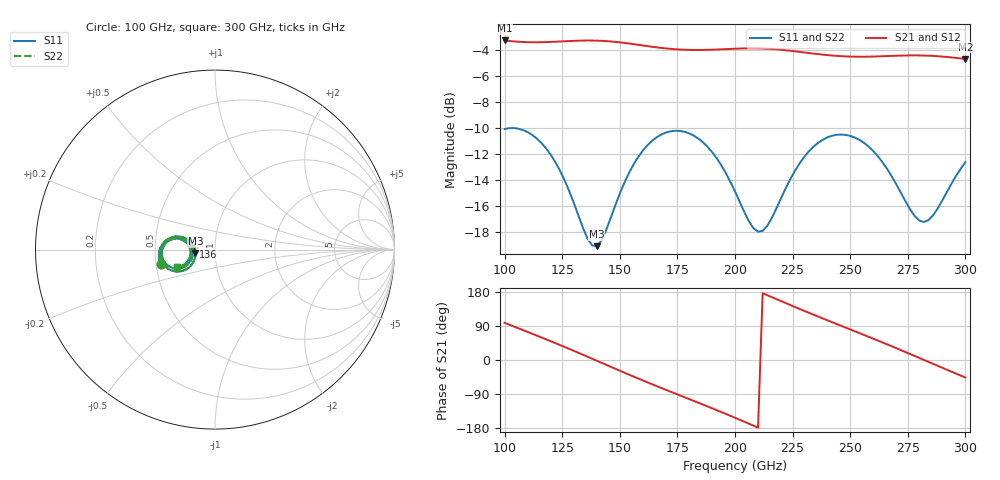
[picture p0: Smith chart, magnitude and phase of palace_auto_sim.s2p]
#  GHZ S DB R 50
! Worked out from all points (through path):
!   101 points, 100 GHz to 300 GHz, reference 50 ohm
!   highest |S21| = -3.29 dB at 100 GHz (marker M1); lowest = -4.7 dB at 300 GHz (marker M2)
!   group delay of S21, straight-line fit = 7.01 ps
!   lowest |S11| = -19.1 dB at 140 GHz (marker M3), VSWR 1.25, Z = 40.1 - j1.62 ohm
!   |S11| at or under -10 dB: start of sweep to end of sweep
!   |S22| runs from -19.0 to -10.0 dB; largest |S21 - S12| = 1.1e-13
!   S11 on the Smith chart (normalised r, x): 100 GHz: 0.53, -0.09; 136 GHz: 0.79, +0.03; 300 GHz: 0.64, -0.13
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100  -10.09 -165.1  -3.29 98.2  -3.29 98.2  -10.08 -164.9
108  -10.17 -178.6  -3.41 78.8  -3.41 78.8  -10.17 -178.4
116  -11.17 169.0  -3.43 59.5  -3.43 59.5  -11.16 169.3
124  -13.28 160.0  -3.37 39.6  -3.37 39.6  -13.25 160.3
134  -17.69 166.0  -3.30 13.9  -3.30 13.9  -17.61 166.3
136  -18.51 172.4  -3.30 8.7  -3.30 8.7  -18.42 172.6
140  -19.09 -169.6  -3.31 -1.9  -3.31 -1.9  -18.99 -169.7
148  -15.98 -146.4  -3.40 -23.0  -3.40 -23.0  -15.94 -146.8
156  -12.80 -147.9  -3.58 -43.8  -3.58 -43.8  -12.79 -148.2
168  -10.52 -163.3  -3.86 -73.8  -3.86 -73.8  -10.52 -163.6
184  -10.82 173.1  -4.02 -112.6  -4.02 -112.6  -10.83 172.7
200  -14.89 161.2  -3.93 -152.5  -3.93 -152.5  -14.96 160.7
208  -17.71 175.7  -3.90 -173.2  -3.90 -173.2  -17.86 175.5
212  -17.92 -170.0  -3.91 176.3  -3.91 176.3  -18.07 -169.8
222  -14.65 -151.0  -4.04 150.2  -4.04 150.2  -14.71 -150.4
234  -11.46 -158.8  -4.30 119.7  -4.30 119.7  -11.49 -158.4
250  -10.62 -179.9  -4.53 80.7  -4.53 80.7  -10.64 -179.7
258  -11.44 170.3  -4.53 61.2  -4.53 61.2  -11.47 170.4
268  -13.72 163.3  -4.48 36.3  -4.48 36.3  -13.77 163.3
282  -17.23 -175.0  -4.45 0.2  -4.45 0.2  -17.36 -174.5
290  -15.57 -157.0  -4.53 -20.6  -4.53 -20.6  -15.65 -156.1
300  -12.64 -156.0  -4.71 -46.2  -4.71 -46.2  -12.66 -155.2
